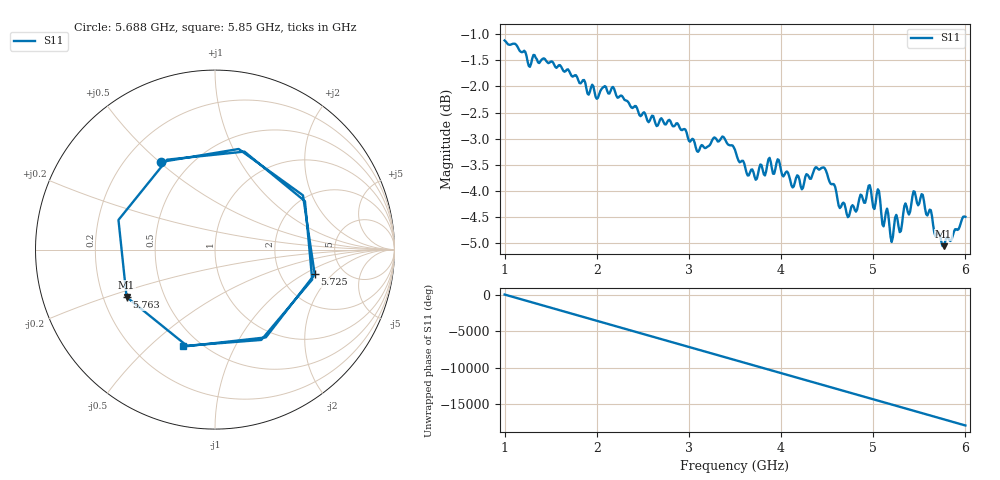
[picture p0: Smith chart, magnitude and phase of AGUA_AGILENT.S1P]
!Agilent Technologies,E5071C,MY46316983,A.11.08
!Date: Tue Mar 10 01:37:43 2026
!Data & Calibration Information:
!Freq	S11:NONE(--)
!PortZ  Port1:50+j0
!Above PortZ is port z conversion or system Z0 setting when saving the data.
# Hz S dB R 50
!When reading, reference impedance value at option line is always used.
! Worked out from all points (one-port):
!   401 points, 1 GHz to 6 GHz, reference 50 ohm
!   lowest |S11| = -5.1 dB at 5.763 GHz (marker M1), VSWR 3.54, Z = 15 - j11.5 ohm
!   |S11| at or under -10 dB: nowhere
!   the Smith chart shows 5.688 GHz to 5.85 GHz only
!   S11 on the Smith chart (normalised r, x): 5.688 GHz: 0.35, +0.51; 5.725 GHz: 3.11, -1.27; 5.763 GHz: 0.30, -0.23; 5.85 GHz: 0.40, -0.64
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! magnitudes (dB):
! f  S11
! 1 GHz  -1.1
! 1.262 GHz  -1.6
! 1.625 GHz  -1.7
! 2 GHz  -2.2
! 2.25 GHz  -2.2
! 2.562 GHz  -2.7
! 2.875 GHz  -2.7
! 3.1 GHz  -3.2
! 3.362 GHz  -3.0
! 3.5 GHz  -3.2
! 3.638 GHz  -3.7
! 3.975 GHz  -3.4
! 4.125 GHz  -3.9
! 4.463 GHz  -3.5
! 4.638 GHz  -4.3
! 4.75 GHz  -4.4
! 4.963 GHz  -3.9
! 5.062 GHz  -4.0
! 5.1 GHz  -4.6
! 5.15 GHz  -4.3
! 5.2 GHz  -5.0
! 5.375 GHz  -4.4
! 5.525 GHz  -4.1
! 5.688 GHz  -4.8
! 5.725 GHz  -4.8
! 5.763 GHz  -5.1
! 5.85 GHz  -4.9
! 6 GHz  -4.5
